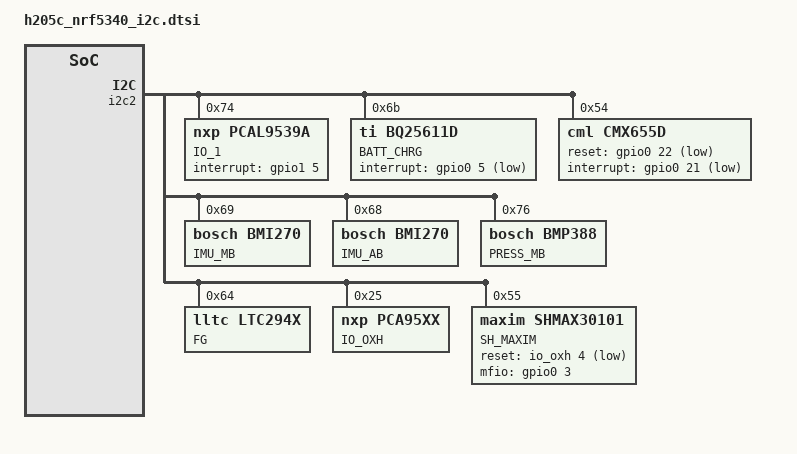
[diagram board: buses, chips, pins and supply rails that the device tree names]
/*
 * Copyright (c) 2022 Acme CPU
 *
 * Created on: 19-Oct-2022
 * Author: Rohan Dey (rohan@acmecpu.cpm)
 *
 * H205C I2C0 bus has
 *      - PCAL9539
 *      - PCA9551BS
 *      - BMI270 (IMU2)
 *      - BMI270 (H205C-AB)
 *      - BMP388
 *      - MAX32664 or MAX30101 (H205C-oxH)
 *      - BQ25611D
 *      - LTC2942
 *		  - CMX655D Control Interface
 *      - BMA456 (external accelerometer)
 */

&i2c2 {
	/*compatible = "nordic,nrf-twim";
	status = "okay";
	pinctrl-0 = <&i2c0_default>;
	pinctrl-1 = <&i2c0_sleep>;
	pinctrl-names = "default", "sleep";*/

  io_1: pcal9539@74 {
      compatible = "nxp,pcal9539a";
      reg = <0x74>;
      gpio-controller;
      has-pud;
      interrupt-gpios = <&gpio1 5 (GPIO_PULL_UP)>;
      #gpio-cells = <2>;
      ngpios = <16>;
      label = "IO_1";
    };

  batt_chrg: bq25611d@6b {
      compatible = "ti,bq25611d";
      reg = <0x6b>;
      label = "BATT_CHRG";
      interrupt-gpios = <&gpio0 5 (GPIO_PULL_UP | GPIO_ACTIVE_LOW)>;
/*    enable-gpios = <&io_1 7 GPIO_ACTIVE_HIGH>;
      pwms = <&tim_2_ic 3 10000000 0>;
      pwm-names = "bc-status";
      io-channels = <&adc1 8>,
                    <&adc1 7>;
      io-channel-names = "batt-voltage",
                         "vbus-voltage";
      batsense-enable-gpios = <&io_1 9 GPIO_ACTIVE_HIGH>;
*/
    };

  cmx655d: cmx655d@54 {
    compatible = "cml,cmx655d";
    reg = <0x54>;
    classd-oc-reset-attempts = <5>;
    reset-gpios = <&gpio0 22 (GPIO_ACTIVE_LOW)>;
    interrupt-gpios = <&gpio0 21 (GPIO_PULL_UP | GPIO_ACTIVE_LOW)>;
  };

  imu_mb: bmi270@69 {
		compatible = "bosch,bmi270";
		reg = <0x69>;
		label = "IMU_MB"; /* IMU on MAIN board */
	};

  imu_ab: bmi270@68 {
		compatible = "bosch,bmi270";
		reg = <0x68>;
		label = "IMU_AB"; /* IMU on H205C-AB board */
	};

  press_mb: bmp388@76 {
		compatible = "bosch,bmp388";
    	reg = <0x76>;
    	label = "PRESS_MB";
    	odr = "25";			/* data rate = 25Hz */
    	osr-press = <1>;	/* pressure oversampling = No */
    	osr-temp = <1>;		/* temperature oversampling = No */
    	iir-filter = <0>;	/* iir filter = default val */
	};

  fuelgauge: ltc2942@64 {
		compatible = "lltc,ltc294x";
		reg = <0x64>;
		resistor-sense = <10>;
		prescaler-exponent = <5>; 	/* for Qbat=5000 mAh, Rsense=10 mOhm [(128 * 5000 * 10)/(2^16 * 0.085 * 50)] */
		device-id = <2>;			/* LTC2941 = 1, LTC2942 = 2, LTC2943 = 3, LTC2944 = 4 */
		label = "FG";
	};

  /* h205c-oxH */
  io_oxh: pca95xx@25 {
    compatible = "nxp,pca95xx";
    reg = <0x25>;
    gpio-controller;
    /*has-pud;*/
    /*interrupt-gpios = <&gpio1 5 (GPIO_PULL_UP | GPIO_ACTIVE_LOW)>;*/
    #gpio-cells = <2>;
    ngpios = <8>;
    label = "IO_OXH";
  };

  sh_oxh: shmax30101@55 {
		compatible = "maxim,shmax30101";
		reg = <0x55>;
    reset-gpios = <&io_oxh 4 GPIO_ACTIVE_LOW>;
    mfio-gpios = <&gpio0 3 0>;
		label = "SH_MAXIM";
	};

};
